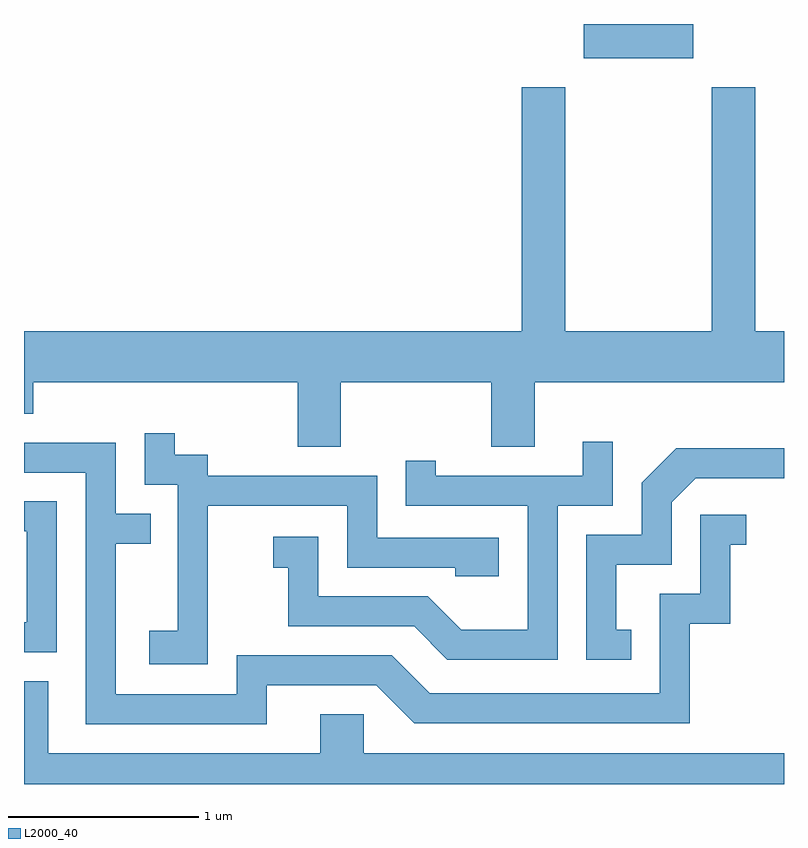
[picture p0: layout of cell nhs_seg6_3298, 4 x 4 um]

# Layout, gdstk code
import gdstk
lib = gdstk.Library(unit=1e-6, precision=1e-09)
def R(c, l, rs):  # rectangles x0, y0, x1, y1
    for r in rs: c.add(gdstk.rectangle(r[:2], r[2:], *l))
def P(c, l, *ps):  # polygons
    for p in ps: c.add(gdstk.Polygon(p, *l))
L2000_40 = (2000, 40)

nhs_seg6_3298 = lib.new_cell('nhs_seg6_3298')
R(nhs_seg6_3298, L2000_40, [(288.556,1533.981,289.134,1534.162)])
P(nhs_seg6_3298, L2000_40, [(287.279,1532.276),(288.071,1532.276),(288.071,1531.936),(288.299,1531.936),(288.299,1532.276),(289.611,1532.276),(289.611,1532.544),(289.459,1532.544),(289.459,1533.829),(289.231,1533.829),(289.231,1532.544),(288.459,1532.544),(288.459,1533.829),(288.231,1533.829),(288.231,1532.544),(285.611,1532.544),(285.611,1532.111),(285.659,1532.111),(285.659,1532.276),(287.051,1532.276),(287.051,1531.936),(287.279,1531.936)],
  [(286.579,1531.626),(287.311,1531.626),(287.311,1531.301),(287.881,1531.301),(287.881,1531.256),(288.109,1531.256),(288.109,1531.459),(287.469,1531.459),(287.469,1531.784),(286.579,1531.784),(286.579,1531.894),(286.404,1531.894),(286.404,1532.008),(286.246,1532.008),(286.246,1531.736),(286.421,1531.736),(286.421,1530.969),(286.271,1530.969),(286.271,1530.791),(286.579,1530.791)],
  [(288.419,1531.626),(288.709,1531.626),(288.709,1531.963),(288.551,1531.963),(288.551,1531.784),(287.779,1531.784),(287.779,1531.863),(287.621,1531.863),(287.621,1531.626),(288.261,1531.626),(288.261,1530.974),(287.912,1530.974),(287.737,1531.149),(287.159,1531.149),(287.159,1531.464),(286.923,1531.464),(286.923,1531.301),(287.001,1531.301),(287.001,1530.991),(287.664,1530.991),(287.839,1530.816),(288.419,1530.816)],
  [(286.889,1530.681),(287.464,1530.681),(287.664,1530.481),(289.114,1530.481),(289.114,1531.006),(289.329,1531.006),(289.329,1531.421),(289.413,1531.421),(289.413,1531.579),(289.171,1531.579),(289.171,1531.164),(288.956,1531.164),(288.956,1530.639),(287.747,1530.639),(287.547,1530.839),(286.731,1530.839),(286.731,1530.634),(286.094,1530.634),(286.094,1531.426),(286.278,1531.426),(286.278,1531.584),(286.094,1531.584),(286.094,1531.959),(285.611,1531.959),(285.611,1531.801),(285.936,1531.801),(285.936,1530.476),(286.889,1530.476)],
  [(288.808,1530.974),(288.729,1530.974),(288.729,1531.316),(289.019,1531.316),(289.019,1531.644),(289.147,1531.771),(289.611,1531.771),(289.611,1531.929),(289.044,1531.929),(288.861,1531.747),(288.861,1531.474),(288.571,1531.474),(288.571,1530.816),(288.808,1530.816)],
  [(285.784,1531.649),(285.611,1531.649),(285.611,1531.491),(285.626,1531.491),(285.626,1531.014),(285.611,1531.014),(285.611,1530.856),(285.784,1530.856)],
  [(289.611,1530.324),(287.399,1530.324),(287.399,1530.529),(287.171,1530.529),(287.171,1530.324),(285.739,1530.324),(285.739,1530.704),(285.611,1530.704),(285.611,1530.162),(289.611,1530.162)])

lib.write_gds('nhs_seg6_3298.gds')
